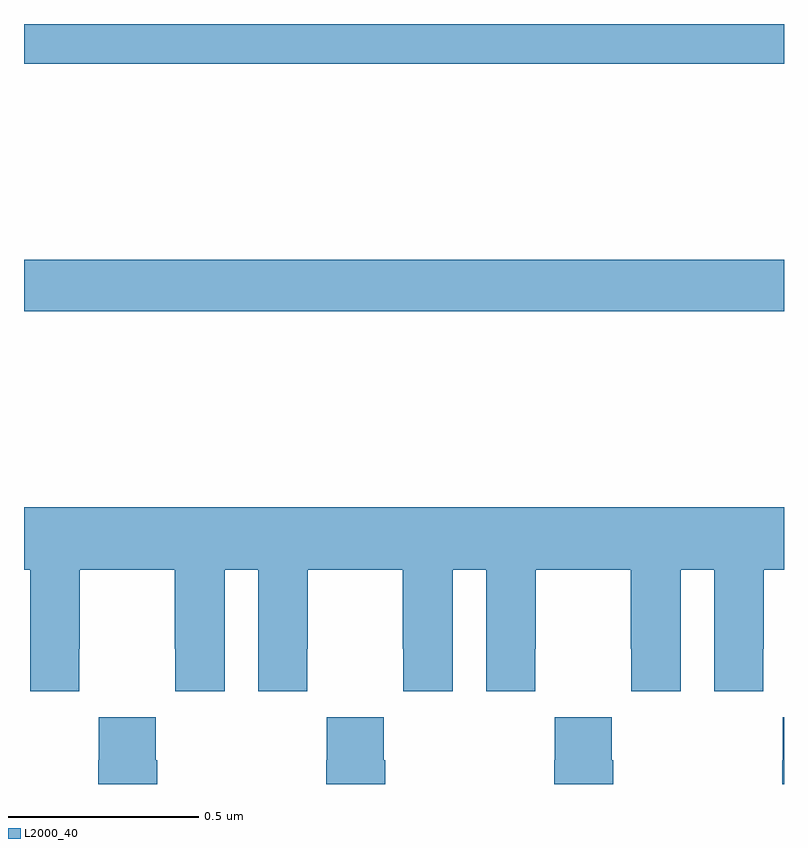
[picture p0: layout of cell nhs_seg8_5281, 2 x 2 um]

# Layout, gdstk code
import gdstk
lib = gdstk.Library(unit=1e-6, precision=1e-09)
def R(c, l, rs):  # rectangles x0, y0, x1, y1
    for r in rs: c.add(gdstk.rectangle(r[:2], r[2:], *l))
def P(c, l, *ps):  # polygons
    for p in ps: c.add(gdstk.Polygon(p, *l))
L2000_40 = (2000, 40)

nhs_seg8_5281 = lib.new_cell('nhs_seg8_5281')
R(nhs_seg8_5281, L2000_40, [(181,1153.144,183,1153.28), (181,1153.796,183,1153.9)])
P(nhs_seg8_5281, L2000_40, [(181.146,1152.256),(181.147,1152.256),(181.147,1152.464),(181.397,1152.464),(181.397,1152.256),(181.398,1152.256),(181.398,1152.144),(181.528,1152.144),(181.528,1152.464),(181.616,1152.464),(181.616,1152.144),(181.746,1152.144),(181.746,1152.256),(181.747,1152.256),(181.747,1152.464),(181.997,1152.464),(181.997,1152.256),(181.998,1152.256),(181.998,1152.144),(182.128,1152.144),(182.128,1152.464),(182.216,1152.464),(182.216,1152.144),(182.346,1152.144),(182.346,1152.256),(182.347,1152.256),(182.347,1152.464),(182.597,1152.464),(182.597,1152.256),(182.598,1152.256),(182.598,1152.144),(182.728,1152.144),(182.728,1152.464),(182.816,1152.464),(182.816,1152.144),(182.946,1152.144),(182.946,1152.256),(182.947,1152.256),(182.947,1152.464),(183,1152.464),(183,1152.628),(181,1152.628),(181,1152.464),(181.016,1152.464),(181.016,1152.144),(181.146,1152.144)],
  [(181.35,1151.963),(181.347,1151.963),(181.347,1152.076),(181.197,1152.076),(181.197,1151.963),(181.195,1151.963),(181.195,1151.9),(181.35,1151.9)],
  [(181.95,1151.963),(181.947,1151.963),(181.947,1152.076),(181.797,1152.076),(181.797,1151.963),(181.795,1151.963),(181.795,1151.9),(181.95,1151.9)],
  [(182.55,1151.963),(182.547,1151.963),(182.547,1152.076),(182.397,1152.076),(182.397,1151.963),(182.395,1151.963),(182.395,1151.9),(182.55,1151.9)],
  [(183,1152.076),(182.997,1152.076),(182.997,1151.963),(182.995,1151.963),(182.995,1151.9),(183,1151.9)])

lib.write_gds('nhs_seg8_5281.gds')
